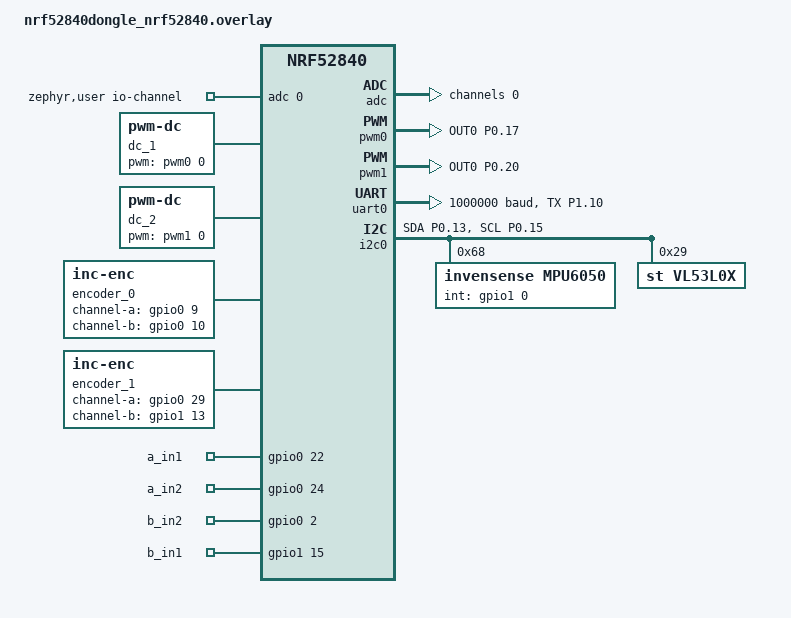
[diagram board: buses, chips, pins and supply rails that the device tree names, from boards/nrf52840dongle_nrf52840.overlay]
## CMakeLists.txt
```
# Copyright 2026 Filip Dymczyk and Konrad Grucel

cmake_minimum_required(VERSION 3.20.0)

find_package(Zephyr REQUIRED HINTS $ENV{ZEPHYR_BASE})

project(self-balancing-robot C CXX)

if(NOT CONFIG_BLUETOOTH_DRV OR NOT CONFIG_DFU_BLE)
    message(FATAL_ERROR 
        "\n===============================\n"
        "ERROR: Missing build options!\n"
        "==============================="
    )
endif()

set(app_sources src/main.cpp)

target_sources(app PRIVATE ${app_sources})
```

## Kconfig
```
# Copyright 2026 Filip Dymczyk and Konrad Grucel

# It must be present to get all zephyr Kconfigs using in nrf-sdk

menu "Zephyr"
source "Kconfig.zephyr"
endmenu

config APP_LOG
    bool "Enable logging from app"
    depends on LOGGER_DRV

config APP_DEBUG
    bool "Enable application debug version"
    depends on LOGGER_DRV

module = APP
module-str = MAIN_APP
source "${ZEPHYR_BASE}/subsys/logging/Kconfig.template.log_config"
```

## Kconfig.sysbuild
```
# Copyright 2026 Filip Dymczyk and Konrad Grucel

choice BOOTLOADER
    default BOOTLOADER_MCUBOOT
endchoice

choice MCUBOOT_MODE
    default MCUBOOT_MODE_OVERWRITE_ONLY
endchoice

source "share/sysbuild/Kconfig"
```

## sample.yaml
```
# Copyright 2026 Filip Dymczyk and Konrad Grucel

sample:
  name: Self-balancing robot firmware
  description: Firmware for the nRF52840-based self-balancing robot

common:
  build_only: true
  sysbuild: true
  platform_allow:
    - nrf52840dongle/nrf52840
  integration_platforms:
    - nrf52840dongle/nrf52840
  tags:
    - robot
    - firmware

tests:
  application.self_balancing_robot.pid:
    extra_configs:
      - CONFIG_PID_ENABLED=y
      - CONFIG_MODEL_IDENTIFICATION_DRV=n

  application.self_balancing_robot.lqr:
    extra_configs:
      - CONFIG_PID_ENABLED=n
      - CONFIG_MODEL_IDENTIFICATION_DRV=n

  application.self_balancing_robot.model_identification:
    extra_configs:
      - CONFIG_PID_ENABLED=y
      - CONFIG_MODEL_IDENTIFICATION_DRV=y
```

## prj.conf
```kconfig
# Copyright 2026 Filip Dymczyk and Konrad Grucel

CONFIG_CPP=y
CONFIG_STD_CPP17=y
CONFIG_REQUIRES_FULL_LIBCPP=y

# Enable battery controller and logs:
CONFIG_BATTERY_LEVEL_DRV=y
CONFIG_BATTERY_LEVEL_LOG=n

# Enable motor controller and logs:
CONFIG_MOTOR_CONTROLLER_DRV=y
CONFIG_MOTOR_CONTROLLER_LOG=n

# Enable interface controller and logs:
CONFIG_INTERFACE_DRV=y
CONFIG_INTERFACE_LOG=n

# Enable IMU driver, logs and IMU calibration:
CONFIG_IMU_DRV=y
CONFIG_IMU_LOG=n
CONFIG_IMU_CALIBRATE_GYRO=n

# Enable robot control loop, angle validation and logs:
CONFIG_ROBOT_CONTROL=y
CONFIG_ROBOT_CONTROL_LOG=y

# Balance controller selection: PID - y, LQR - n:
CONFIG_PID_ENABLED=y

# Enable model identification driver:
CONFIG_MODEL_IDENTIFICATION_DRV=n

# Enable logs from utils module:
CONFIG_UTILS_LOG=n

# Enable logger drivers:
CONFIG_LOGGER_DRV=y

# Enable bluetooth driver:
CONFIG_BLUETOOTH_DRV=y

CONFIG_BT_DEVICE_NAME="SELF_BALANCING_ROBOT"

# Enable encoder driver and logs:
CONFIG_ENCODER_DRV=y
CONFIG_ENCODER_LOG=n

# Enable proximity sensor driver and logs:
CONFIG_PROXIMITY_SENSOR_DRV=y
CONFIG_PROXIMITY_SENSOR_LOG=n
CONFIG_VL53L0X=y

# Safe proximity threshold [mm]
CONFIG_VL53L0X_PROXIMITY_THRESHOLD=300

# Enable app log:
CONFIG_APP_LOG=y

# Enable debug:
CONFIG_APP_DEBUG=y

# Enable FPU module for proper floats handling:
CONFIG_FPU=y

# ±4g for accelerometer:
CONFIG_MPU6050_ACCEL_FS=2

# ±500°/s for gyro: 
CONFIG_MPU6050_GYRO_FS=250

# Enable possibility for reboot when drivers initialization fails:
CONFIG_REBOOT=y

# Enable watchdog controller driver and logs:
CONFIG_WATCHDOG_CONTROLLER_DRV=y
CONFIG_WATCHDOG_CONTROLLER_DRV_LOG=n

# Enable DFU BLE SMP module:
CONFIG_DFU_BLE=y

# Disable Zephyr logging; application diagnostics use binary BLE LOG packets.
CONFIG_LOG=n
CONFIG_UART_CONSOLE=n
CONFIG_SERIAL=n
CONFIG_CONSOLE=n

CONFIG_USB_DEVICE_STACK=n
CONFIG_USB_CDC_ACM=n

# Increase stack sizes for the application and BLE stacks:
CONFIG_MAIN_STACK_SIZE=16392
CONFIG_SYSTEM_WORKQUEUE_STACK_SIZE=16392
CONFIG_BT_RX_STACK_SIZE=16392
CONFIG_BT_HCI_TX_STACK_SIZE=16392

CONFIG_PINCTRL=y
```

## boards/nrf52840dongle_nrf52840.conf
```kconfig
# Copyright 2026 Filip Dymczyk and Konrad Grucel

# This the BLE configuration for logger driver and dfu module it propose our peripheral device data exchagne parameters values to the ble central 
# while negotiating parameteres (between central and peripheral)

CONFIG_BT_DATA_LEN_UPDATE=y
CONFIG_BT_CTLR_DATA_LENGTH_MAX=251
CONFIG_BT_BUF_ACL_RX_SIZE=502
CONFIG_BT_BUF_ACL_TX_SIZE=251
CONFIG_BT_BUF_ACL_TX_COUNT=10
CONFIG_BT_L2CAP_TX_MTU=498
CONFIG_BT_L2CAP_TX_BUF_COUNT=10
CONFIG_BT_ATT_TX_COUNT=10
CONFIG_BT_CONN_TX_MAX=10

CONFIG_BT_PHY_UPDATE=y
CONFIG_BT_CTLR_PHY_2M=y

CONFIG_BT_PERIPHERAL_PREF_MIN_INT=6
CONFIG_BT_PERIPHERAL_PREF_MAX_INT=12
CONFIG_BT_PERIPHERAL_PREF_LATENCY=0
CONFIG_BT_PERIPHERAL_PREF_TIMEOUT=400
CONFIG_BT_GAP_AUTO_UPDATE_CONN_PARAMS=y


# Disable dongle mbr bootloader
CONFIG_BOARD_HAS_NRF5_BOOTLOADER=n
```

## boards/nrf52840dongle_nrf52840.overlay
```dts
// Copyright 2026 Filip Dymczyk and Konrad Grucel

/ {
    zephyr,user {
        io-channels = <&adc 0>;
    };

    chosen {
        zephyr_console = &uart0;
    };
};

&adc {
    status = "okay";
    #address-cells = <1>;
    #size-cells = <0>;

    channel@0 {
        reg = <0>;
        zephyr,gain = "ADC_GAIN_1_6";
        zephyr,reference = "ADC_REF_INTERNAL";
        zephyr,acquisition-time = <ADC_ACQ_TIME_DEFAULT>;
        zephyr,input-positive = <NRF_SAADC_AIN7>; /* P0.31 for nRF52840 Dongle */
        zephyr,resolution = <12>;
        zephyr,oversampling = <8>;
    };
};

&gpio0 {
    status = "okay";

    a_in_pins {
        compatible = "gpio-keys";

        a_in1: a_in1 {
            gpios = <&gpio0 22 GPIO_ACTIVE_HIGH>;
        };

        a_in2: a_in2 {
            gpios = <&gpio0 24 GPIO_ACTIVE_HIGH>;
        };
    };

    b_in_pins {
        compatible = "gpio-keys";

        b_in2: b_in2 {
            gpios = <&gpio0 2 GPIO_ACTIVE_HIGH>;
        };
    };
};

&gpio1 {
    status = "okay";

    b_in_pins {
        compatible = "gpio-keys";

        b_in1: b_in1 {
            gpios = <&gpio1 15 GPIO_ACTIVE_HIGH>;
        };
    };
};

/ {
    dc_1: dc_1 {
        compatible = "pwm-dc";
        pwms = <&pwm0 0 PWM_MSEC(20) PWM_POLARITY_NORMAL>;
    };

    dc_2: dc_2 {
        compatible = "pwm-dc";
        pwms = <&pwm1 0 PWM_MSEC(20) PWM_POLARITY_NORMAL>;
    };
};

/ {
    encoder_0: encoder_0 {
        compatible = "inc-enc";
        channel-a-gpios = <&gpio0 9 GPIO_ACTIVE_HIGH>;
        channel-b-gpios = <&gpio0 10 GPIO_ACTIVE_HIGH>;
    };

    encoder_1: encoder_1 {
        compatible = "inc-enc";
        channel-a-gpios = <&gpio0 29 GPIO_ACTIVE_HIGH>;
        channel-b-gpios = <&gpio1 13 GPIO_ACTIVE_HIGH>;
    };
};

&pwm0 {
    status = "okay";
    pinctrl-0 = <&pwm0_custom_motor>;
    pinctrl-1 = <&pwm0_csleep_motor>;
    pinctrl-names = "default", "sleep";
};

&pwm1 {
    status = "okay";
    pinctrl-0 = <&pwm1_custom_motor>;
    pinctrl-1 = <&pwm1_csleep_motor>;
    pinctrl-names = "default", "sleep";
};

&pinctrl {
    pwm0_custom_motor: pwm0_custom_motor {
        group1 {
            psels = <NRF_PSEL(PWM_OUT0, 0, 17)>;
            /*nordic,invert; - uncoment this if negative PWM is needed*/
        };
    };

    pwm0_csleep_motor: pwm0_csleep_motor {
        group1 {
            psels = <NRF_PSEL(PWM_OUT0, 0, 17)>;
            low-power-enable;
        };
    };

    pwm1_custom_motor: pwm1_custom_motor {
        group1 {
            psels = <NRF_PSEL(PWM_OUT0, 0, 20)>;
            /*nordic,invert; - uncoment this if negative PWM is needed*/
        };
    };

    pwm1_csleep_motor: pwm1_csleep_motor {
        group1 {
            psels = <NRF_PSEL(PWM_OUT0, 0, 20)>;
            low-power-enable;
        };
    };

    i2c0_default: i2c0_default {
        group1 {
            psels = <NRF_PSEL(TWIM_SDA, 0, 13)>,
                    <NRF_PSEL(TWIM_SCL, 0, 15)>;
        };
    };

    i2c0_sleep: i2c0_sleep {
        group1 {
            psels = <NRF_PSEL(TWIM_SDA, 0, 13)>,
                    <NRF_PSEL(TWIM_SCL, 0, 15)>;
        };
    };
};

&pinctrl {
    uart0_default: uart0_default {
        /delete-node/ group2;

        group1 {
            psels = <NRF_PSEL(UART_TX, 1, 10)>;
        };
    };

    uart0_sleep: uart0_sleep {
        /delete-node/ group2;

        group1 {
            psels = <NRF_PSEL(UART_TX, 1, 10)>;
        };
    };
};

&uart0 {
    compatible = "nordic,nrf-uart";
    status = "okay";

    current-speed = <1000000>;
    pinctrl-0 = <&uart0_default>;
    pinctrl-1 = <&uart0_sleep>;
    pinctrl-names = "default", "sleep";
    disable-rx;
};

&i2c0 {
    status = "okay";
    pinctrl-0 = <&i2c0_default>;
    pinctrl-1 = <&i2c0_sleep>;
    pinctrl-names = "default", "sleep";

    mpu6050@68 {
        compatible = "invensense,mpu6050";
        reg = <0x68>;
        status = "okay";
        int-gpios = <&gpio1 0 GPIO_ACTIVE_HIGH>;
    };

    vl53l0x@29 {
        compatible = "st,vl53l0x";
        reg = <0x29>;
        status = "okay";
        /* xshut-gpios = <&gpio0 12 GPIO_ACTIVE_HIGH>; */ /* Optional: Uncomment if connected */
    };
};
```

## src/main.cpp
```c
// Copyright 2026 Filip Dymczyk and Konrad Grucel

#include "logger.h"

static Logger<IS_ENABLED(CONFIG_APP_LOG)> app_logger("APP");

#ifdef CONFIG_INTERFACE_DRV
#include "interface.h"
#define BLINKING_INTERVAL 500
#endif  // CONFIG_INTERFACE_DRV

#include <zephyr/kernel.h>

/*TODO: ble dfu is mandatory - needs to be default y*/
#include "dfu_ble.h"

K_SEM_DEFINE(start_app_sem, 0, 1);

static void
dfu_action()
{
    k_sem_give(&start_app_sem);
}

int
main()
{
    dfu_action_cb_register(dfu_action);

    // Wait for dfu action from dfu module before starting main app
    k_sem_take(&start_app_sem, K_FOREVER);
    app_logger.platform_log(LOG_LEVEL::INF, "Application started.");

#ifdef CONFIG_INTERFACE_DRV
    led_start_periodic_blinking(BLINKING_INTERVAL);
    app_logger.platform_log(LOG_LEVEL::INF, "Interface driver is enabled.");
#endif  // CONFIG_INTERFACE_DRV
}
```
